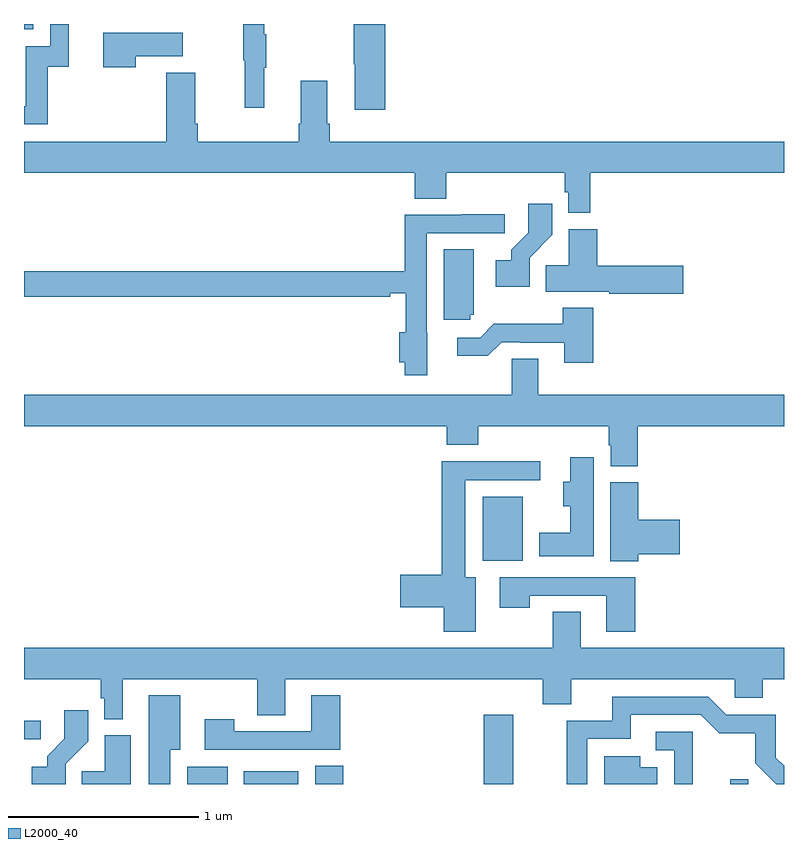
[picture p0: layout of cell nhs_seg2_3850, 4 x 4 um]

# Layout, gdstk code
import gdstk
lib = gdstk.Library(unit=1e-6, precision=1e-09)
def R(c, l, rs):  # rectangles x0, y0, x1, y1
    for r in rs: c.add(gdstk.rectangle(r[:2], r[2:], *l))
def P(c, l, *ps):  # polygons
    for p in ps: c.add(gdstk.Polygon(p, *l))
L2000_40 = (2000, 40)

nhs_seg2_3850 = lib.new_cell('nhs_seg2_3850')
R(nhs_seg2_3850, L2000_40, [(315.86,597.8,316.072,597.892), (316.157,597.8,316.444,597.868), (316.532,597.8,316.679,597.896), (317.42,597.8,317.574,598.165), (318.718,597.8,318.812,597.825), (315,598.035,315.088,598.134), (317.414,598.976,317.626,599.311), (315,601.773,315.048,601.8)])
P(nhs_seg2_3850, L2000_40, [(316.901,601.8),(316.735,601.8),(316.735,601.588),(316.742,601.588),(316.742,601.35),(316.901,601.35)],
  [(316.265,601.571),(316.276,601.571),(316.276,601.745),(316.265,601.745),(316.265,601.8),(316.155,601.8),(316.155,601.608),(316.162,601.608),(316.162,601.359),(316.265,601.359)],
  [(315.125,601.575),(315.236,601.575),(315.236,601.8),(315.138,601.8),(315.138,601.683),(315.009,601.683),(315.009,601.368),(315,601.368),(315,601.272),(315.125,601.272)],
  [(315.587,601.631),(315.835,601.631),(315.835,601.753),(315.416,601.753),(315.416,601.572),(315.587,601.572)],
  [(317.981,601.016),(319,601.016),(319,601.18),(316.61,601.18),(316.61,601.276),(316.597,601.276),(316.597,601.501),(316.457,601.501),(316.457,601.276),(316.445,601.276),(316.445,601.18),(315.914,601.18),(315.914,601.276),(315.901,601.276),(315.901,601.543),(315.749,601.543),(315.749,601.18),(315,601.18),(315,601.016),(317.057,601.016),(317.057,600.88),(317.222,600.88),(317.222,601.016),(317.845,601.016),(317.845,600.915),(317.865,600.915),(317.865,600.806),(317.981,600.806)],
  [(317.661,600.571),(317.78,600.69),(317.78,600.853),(317.655,600.853),(317.655,600.701),(317.564,600.611),(317.564,600.556),(317.484,600.556),(317.484,600.416),(317.661,600.416)],
  [(317.122,600.174),(317.121,600.174),(317.121,600.699),(317.53,600.699),(317.53,600.798),(317.305,600.798),(317.305,600.795),(317.005,600.795),(317.005,600.5),(315,600.5),(315,600.364),(316.928,600.364),(316.928,600.383),(317.009,600.383),(317.009,600.178),(316.976,600.178),(316.976,600.02),(317.005,600.02),(317.005,599.952),(317.122,599.952)],
  [(318.469,600.527),(318.017,600.527),(318.017,600.721),(317.867,600.721),(317.867,600.53),(317.746,600.53),(317.746,600.392),(318.079,600.392),(318.079,600.38),(318.469,600.38)],
  [(317.349,600.27),(317.368,600.27),(317.368,600.614),(317.21,600.614),(317.21,600.243),(317.349,600.243)],
  [(317.996,600.307),(317.836,600.307),(317.836,600.223),(317.473,600.223),(317.4,600.15),(317.28,600.15),(317.28,600.053),(317.441,600.053),(317.514,600.126),(317.614,600.126),(317.614,600.123),(317.843,600.123),(317.843,600.018),(317.996,600.018)],
  [(318.23,599.684),(319,599.684),(319,599.848),(317.707,599.848),(317.707,600.038),(317.568,600.038),(317.568,599.848),(315,599.848),(315,599.684),(317.225,599.684),(317.225,599.585),(317.39,599.585),(317.39,599.684),(318.077,599.684),(318.077,599.583),(318.089,599.583),(318.089,599.473),(318.23,599.473)],
  [(317.998,599.521),(317.876,599.521),(317.876,599.391),(317.837,599.391),(317.837,599.261),(317.876,599.261),(317.876,599.122),(317.711,599.122),(317.711,599),(317.998,599)],
  [(317.377,598.888),(317.323,598.888),(317.323,599.4),(317.716,599.4),(317.716,599.498),(317.198,599.498),(317.198,598.901),(316.98,598.901),(316.98,598.73),(317.21,598.73),(317.21,598.602),(317.377,598.602)],
  [(318.233,599.009),(318.451,599.009),(318.451,599.192),(318.233,599.192),(318.233,599.388),(318.086,599.388),(318.086,598.972),(318.233,598.972)],
  [(318.218,598.887),(317.505,598.887),(317.505,598.728),(317.661,598.728),(317.661,598.791),(318.065,598.791),(318.065,598.602),(318.218,598.602)],
  [(315.52,598.352),(316.228,598.352),(316.228,598.162),(316.375,598.162),(316.375,598.352),(317.729,598.352),(317.729,598.219),(317.881,598.219),(317.881,598.352),(318.741,598.352),(318.741,598.254),(318.888,598.254),(318.888,598.352),(319,598.352),(319,598.516),(317.929,598.516),(317.929,598.706),(317.782,598.706),(317.782,598.516),(315,598.516),(315,598.352),(315.403,598.352),(315.403,598.251),(315.423,598.251),(315.423,598.142),(315.52,598.142)],
  [(316.664,598.267),(316.511,598.267),(316.511,598.077),(316.107,598.077),(316.107,598.141),(315.951,598.141),(315.951,597.981),(316.664,597.981)],
  [(315.769,597.98),(315.823,597.98),(315.823,598.267),(315.656,598.267),(315.656,597.8),(315.769,597.8)],
  [(317.964,598.038),(318.193,598.038),(318.193,598.164),(318.561,598.164),(318.66,598.066),(318.849,598.066),(318.849,597.91),(318.959,597.8),(319,597.8),(319,597.896),(318.957,597.939),(318.957,598.164),(318.696,598.164),(318.6,598.26),(318.095,598.26),(318.095,598.134),(317.856,598.134),(317.856,597.8),(317.964,597.8)],
  [(315.219,597.907),(315.338,598.026),(315.338,598.189),(315.213,598.189),(315.213,598.037),(315.122,597.947),(315.122,597.892),(315.042,597.892),(315.042,597.8),(315.219,597.8)],
  [(318.521,598.074),(318.324,598.074),(318.324,597.978),(318.423,597.978),(318.423,597.8),(318.521,597.8)],
  [(315.562,598.057),(315.425,598.057),(315.425,597.866),(315.304,597.866),(315.304,597.8),(315.562,597.8)],
  [(318.334,597.889),(318.244,597.889),(318.244,597.946),(318.053,597.946),(318.053,597.8),(318.334,597.8)])

lib.write_gds('nhs_seg2_3850.gds')
